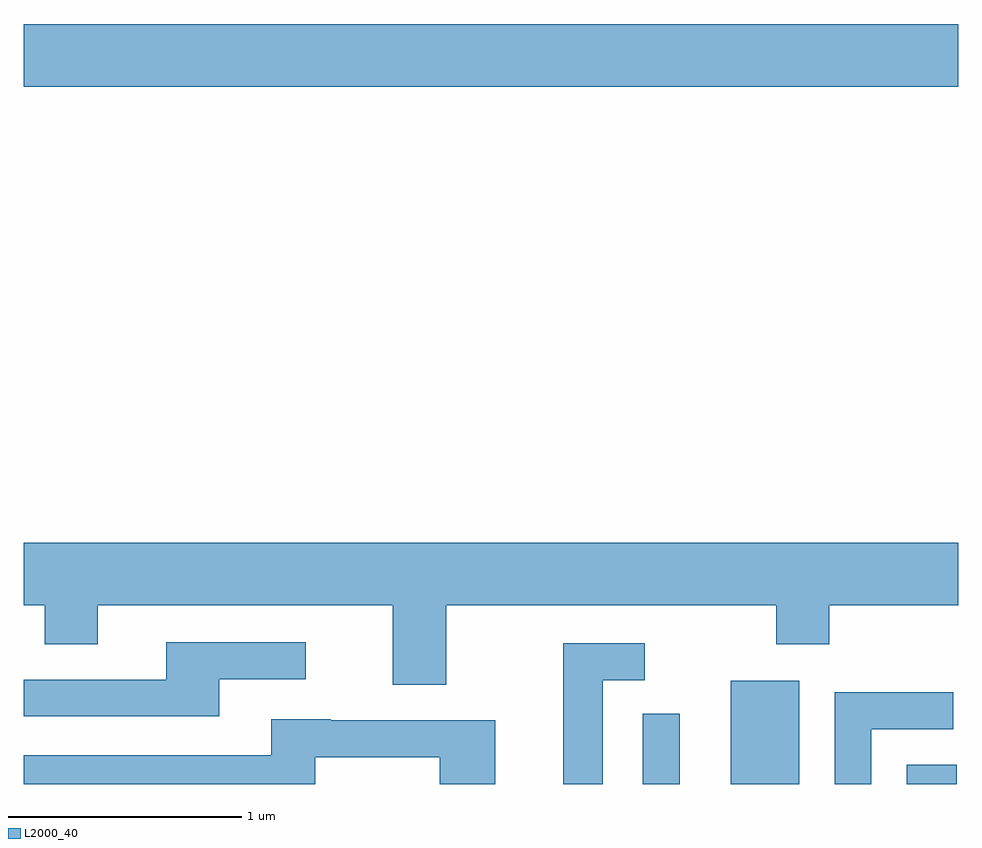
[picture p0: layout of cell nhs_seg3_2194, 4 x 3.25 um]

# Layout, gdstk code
import gdstk
lib = gdstk.Library(unit=1e-6, precision=1e-09)
def R(c, l, rs):  # rectangles x0, y0, x1, y1
    for r in rs: c.add(gdstk.rectangle(r[:2], r[2:], *l))
def P(c, l, *ps):  # polygons
    for p in ps: c.add(gdstk.Polygon(p, *l))
L2000_40 = (2000, 40)

nhs_seg3_2194 = lib.new_cell('nhs_seg3_2194')
R(nhs_seg3_2194, L2000_40, [(252.261,1151.892,252.419,1152.193), (252.636,1151.892,252.929,1152.334), (253.391,1151.892,253.604,1151.974), (249.611,1154.876,253.611,1155.144)])
P(nhs_seg3_2194, L2000_40, [(249.611,1152.656),(249.701,1152.656),(249.701,1152.491),(249.929,1152.491),(249.929,1152.656),(251.191,1152.656),(251.191,1152.316),(251.419,1152.316),(251.419,1152.656),(252.831,1152.656),(252.831,1152.491),(253.059,1152.491),(253.059,1152.656),(253.611,1152.656),(253.611,1152.924),(249.611,1152.924)],
  [(250.449,1152.341),(250.818,1152.341),(250.818,1152.499),(250.221,1152.499),(250.221,1152.339),(249.611,1152.339),(249.611,1152.181),(250.449,1152.181)],
  [(252.089,1152.336),(252.268,1152.336),(252.268,1152.494),(251.921,1152.494),(251.921,1151.892),(252.089,1151.892)],
  [(253.239,1152.126),(253.588,1152.126),(253.588,1152.284),(253.081,1152.284),(253.081,1151.892),(253.239,1151.892)],
  [(250.859,1152.006),(251.391,1152.006),(251.391,1151.892),(251.629,1151.892),(251.629,1152.164),(250.925,1152.164),(250.925,1152.169),(250.671,1152.169),(250.671,1152.014),(249.611,1152.014),(249.611,1151.892),(250.859,1151.892)])

lib.write_gds('nhs_seg3_2194.gds')
